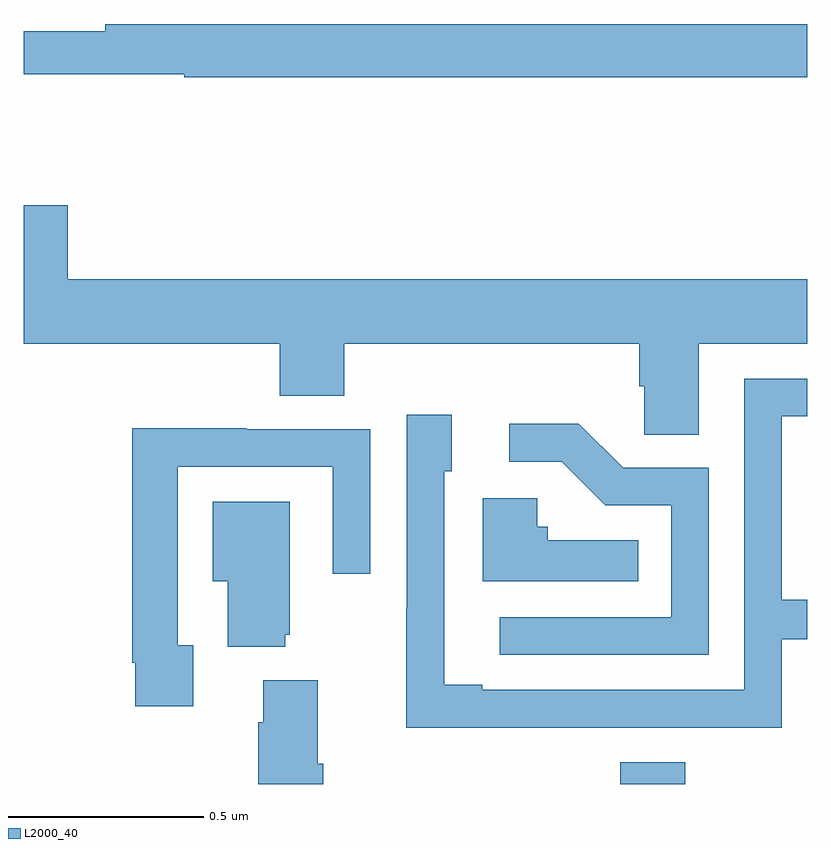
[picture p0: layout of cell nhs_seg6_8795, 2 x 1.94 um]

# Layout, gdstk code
import gdstk
lib = gdstk.Library(unit=1e-6, precision=1e-09)
def R(c, l, rs):  # rectangles x0, y0, x1, y1
    for r in rs: c.add(gdstk.rectangle(r[:2], r[2:], *l))
def P(c, l, *ps):  # polygons
    for p in ps: c.add(gdstk.Polygon(p, *l))
L2000_40 = (2000, 40)

nhs_seg6_8795 = lib.new_cell('nhs_seg6_8795')
R(nhs_seg6_8795, L2000_40, [(226.523,991.5,226.688,991.555)])
P(nhs_seg6_8795, L2000_40, [(227,993.44),(225.208,993.44),(225.208,993.421),(225,993.421),(225,993.312),(225.41,993.312),(225.41,993.304),(227,993.304)],
  [(226.723,992.624),(227,992.624),(227,992.788),(225.112,992.788),(225.112,992.977),(225,992.977),(225,992.624),(225.653,992.624),(225.653,992.491),(225.818,992.491),(225.818,992.624),(226.571,992.624),(226.571,992.515),(226.584,992.515),(226.584,992.392),(226.723,992.392)],
  [(226.439,991.644),(226.935,991.644),(226.935,991.869),(227,991.869),(227,991.97),(226.935,991.97),(226.935,992.439),(227,992.439),(227,992.535),(226.839,992.535),(226.839,991.74),(226.171,991.74),(226.171,991.753),(226.074,991.753),(226.074,992.298),(226.093,992.298),(226.093,992.443),(225.978,992.443),(225.978,991.949),(225.976,991.949),(225.976,991.643),(226.439,991.643)],
  [(226.749,992.307),(226.53,992.307),(226.417,992.42),(226.239,992.42),(226.239,992.322),(226.373,992.322),(226.484,992.211),(226.653,992.211),(226.653,991.926),(226.215,991.926),(226.215,991.83),(226.749,991.83)],
  [(225.433,991.854),(225.393,991.854),(225.393,992.31),(225.789,992.31),(225.789,992.037),(225.885,992.037),(225.885,992.406),(225.569,992.406),(225.569,992.408),(225.277,992.408),(225.277,991.81),(225.285,991.81),(225.285,991.698),(225.433,991.698)],
  [(226.568,992.122),(226.338,992.122),(226.338,992.157),(226.311,992.157),(226.311,992.23),(226.172,992.23),(226.172,992.018),(226.568,992.018)],
  [(225.668,991.881),(225.679,991.881),(225.679,992.221),(225.482,992.221),(225.482,992.018),(225.521,992.018),(225.521,991.85),(225.668,991.85)],
  [(225.764,991.552),(225.751,991.552),(225.751,991.765),(225.611,991.765),(225.611,991.658),(225.599,991.658),(225.599,991.5),(225.764,991.5)])

lib.write_gds('nhs_seg6_8795.gds')
